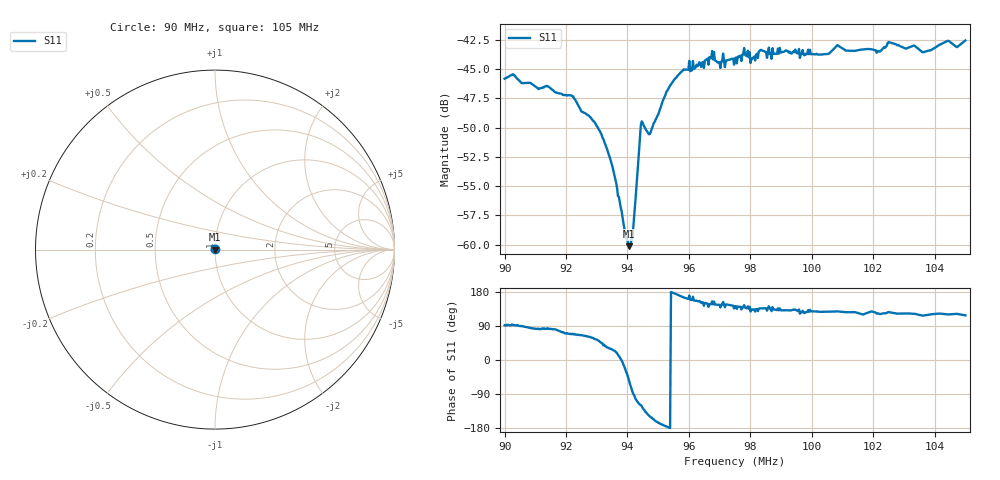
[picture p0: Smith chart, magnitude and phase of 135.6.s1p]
# HZ S RI R 50
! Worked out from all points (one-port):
!   505 points, 90 MHz to 105 MHz, reference 50 ohm
!   lowest |S11| = -60.1 dB at 94.05 MHz (marker M1), VSWR 1.00, Z = 50.1 - j0.0791 ohm
!   |S11| at or under -10 dB: start of sweep to end of sweep
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9e7  -0.000143 0.00512
9.026786e7  -0.000218 0.00534
9.187501e7  0.00125 0.00421
9.223215e7  0.00162 0.00399
9.309525e7  0.00204 0.00229
9.348215e7  0.00195 0.00107
9.375001e7  0.00151 0.000185
9.392858e7  0.00101 -0.000455
9.404763e7  0.00059 -0.00079
9.416668e7  9.57e-05 -0.00108
9.440478e7  -0.00134 -0.00254
9.44643e7  -0.00178 -0.00286
9.473216e7  -0.00255 -0.00152
9.526787e7  -0.00449 -0.000373
9.562502e7  -0.00521 0.000697
9.675597e7  -0.00609 0.00286
9.696431e7  -0.00498 0.00339
9.750002e7  -0.00495 0.00383
9.836312e7  -0.00491 0.00468
9.937503e7  -0.00444 0.00494
1.00506e8  -0.00394 0.0052
1.008631e8  -0.00438 0.00557
1.0125e8  -0.00398 0.00543
1.021727e8  -0.00361 0.00566
1.025298e8  -0.00429 0.00593
1.03125e8  -0.00376 0.00583
1.036608e8  -0.00309 0.0059
1.05e8  -0.00348 0.00659
